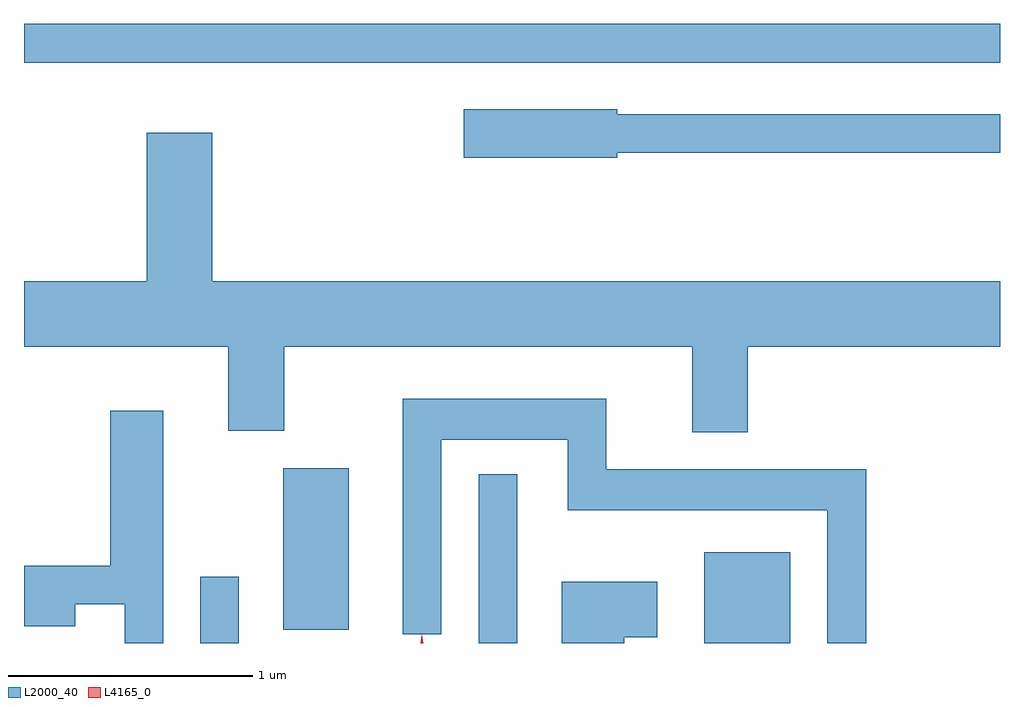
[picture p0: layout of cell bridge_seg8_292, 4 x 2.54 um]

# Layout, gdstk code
import gdstk
lib = gdstk.Library(unit=1e-6, precision=1e-09)
def R(c, l, rs):  # rectangles x0, y0, x1, y1
    for r in rs: c.add(gdstk.rectangle(r[:2], r[2:], *l))
def P(c, l, *ps):  # polygons
    for p in ps: c.add(gdstk.Polygon(p, *l))
L2000_40 = (2000, 40)
L4165_0 = (4165, 0)

bridge_seg8_292 = lib.new_cell('bridge_seg8_292')
R(bridge_seg8_292, L2000_40, [(1394.116,1806.342,1394.274,1806.613), (1395.256,1806.342,1395.414,1807.033), (1396.181,1806.342,1396.534,1806.714), (1394.456,1806.396,1394.724,1807.059), (1393.393,1808.721,1397.393,1808.879)])
P(bridge_seg8_292, L2000_40, [(1395.824,1808.351),(1397.393,1808.351),(1397.393,1808.509),(1395.824,1808.509),(1395.824,1808.529),(1395.196,1808.529),(1395.196,1808.331),(1395.824,1808.331)],
  [(1396.359,1807.556),(1397.393,1807.556),(1397.393,1807.824),(1394.164,1807.824),(1394.164,1808.434),(1393.896,1808.434),(1393.896,1807.824),(1393.393,1807.824),(1393.393,1807.556),(1394.231,1807.556),(1394.231,1807.211),(1394.459,1807.211),(1394.459,1807.556),(1396.131,1807.556),(1396.131,1807.206),(1396.359,1807.206)],
  [(1396.844,1807.054),(1395.779,1807.054),(1395.779,1807.344),(1394.946,1807.344),(1394.946,1806.378),(1395.104,1806.378),(1395.104,1807.176),(1395.621,1807.176),(1395.621,1806.886),(1396.686,1806.886),(1396.686,1806.342),(1396.844,1806.342)],
  [(1393.964,1807.294),(1393.746,1807.294),(1393.746,1806.659),(1393.393,1806.659),(1393.393,1806.411),(1393.604,1806.411),(1393.604,1806.501),(1393.806,1806.501),(1393.806,1806.342),(1393.964,1806.342)],
  [(1395.854,1806.366),(1395.989,1806.366),(1395.989,1806.594),(1395.596,1806.594),(1395.596,1806.342),(1395.854,1806.342)])
P(bridge_seg8_292, L4165_0, [(1395.019,1806.342),(1395.023,1806.376),(1395.024,1806.376),(1395.029,1806.342)])

lib.write_gds('bridge_seg8_292.gds')
